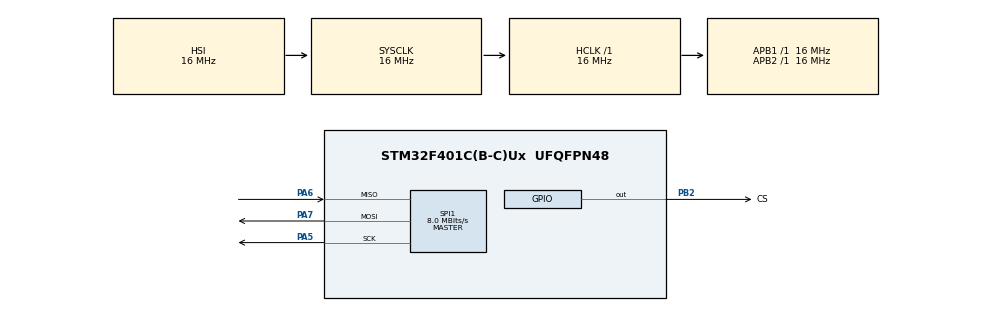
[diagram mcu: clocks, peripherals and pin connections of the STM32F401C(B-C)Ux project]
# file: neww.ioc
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Dma.Request0=SPI1_RX
Dma.Request1=SPI1_TX
Dma.SPI1_RX.0.Direction=DMA_PERIPH_TO_MEMORY
Dma.SPI1_RX.0.FIFOMode=DMA_FIFOMODE_DISABLE
Dma.SPI1_RX.0.Instance=DMA2_Stream0
Dma.SPI1_RX.0.MemDataAlignment=DMA_MDATAALIGN_BYTE
Dma.SPI1_RX.0.MemInc=DMA_MINC_ENABLE
Dma.SPI1_RX.0.Mode=DMA_NORMAL
Dma.SPI1_RX.0.PeriphDataAlignment=DMA_PDATAALIGN_BYTE
Dma.SPI1_RX.0.PeriphInc=DMA_PINC_DISABLE
Dma.SPI1_RX.0.Priority=DMA_PRIORITY_LOW
Dma.SPI1_TX.1.Direction=DMA_MEMORY_TO_PERIPH
Dma.SPI1_TX.1.FIFOMode=DMA_FIFOMODE_DISABLE
Dma.SPI1_TX.1.Instance=DMA2_Stream3
Dma.SPI1_TX.1.MemDataAlignment=DMA_MDATAALIGN_BYTE
Dma.SPI1_TX.1.MemInc=DMA_MINC_ENABLE
Dma.SPI1_TX.1.Mode=DMA_NORMAL
Dma.SPI1_TX.1.PeriphDataAlignment=DMA_PDATAALIGN_BYTE
Dma.SPI1_TX.1.PeriphInc=DMA_PINC_DISABLE
Dma.SPI1_TX.1.Priority=DMA_PRIORITY_LOW
Mcu.Family=STM32F4
Mcu.Name=STM32F401C(B-C)Ux
Mcu.Package=UFQFPN48
NVIC.DMA2_Stream0_IRQn=true\:0\:0\:false\:false\:true\:false\:true\:true
NVIC.DMA2_Stream3_IRQn=true\:0\:0\:false\:false\:true\:false\:true\:true
NVIC.PriorityGroup=NVIC_PRIORITYGROUP_4
NVIC.SPI1_IRQn=true\:0\:0\:false\:false\:true\:true\:true\:true
PA5.Mode=Full_Duplex_Master
PA5.Signal=SPI1_SCK
PA6.Mode=Full_Duplex_Master
PA6.Signal=SPI1_MISO
PA7.Mode=Full_Duplex_Master
PA7.Signal=SPI1_MOSI
PB2.GPIO_Label=CS
PB2.PinState=GPIO_PIN_SET
PB2.Signal=GPIO_Output
ProjectManager.HeapSize=0x200
ProjectManager.StackSize=0x400
ProjectManager.TargetToolchain=STM32CubeIDE
RCC.AHBFreq_Value=16000000
RCC.APB1Freq_Value=16000000
RCC.APB2Freq_Value=16000000
RCC.CortexFreq_Value=16000000
RCC.HSE_VALUE=25000000
RCC.HSI_VALUE=16000000
RCC.LSE_VALUE=32768
RCC.SYSCLKFreq_VALUE=16000000
RCC.VCOOutputFreq_Value=192000000
SPI1.CRCCalculation=SPI_CRCCALCULATION_DISABLE
SPI1.CalculateBaudRate=8.0 MBits/s
SPI1.Direction=SPI_DIRECTION_2LINES
SPI1.Mode=SPI_MODE_MASTER
SPI1.VirtualType=VM_MASTER
board=custom

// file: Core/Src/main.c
/* USER CODE BEGIN Header */
/**
  ******************************************************************************
  * @file           : main.c
  * @brief          : Main program body
  ******************************************************************************
  * @attention
  *
  * Copyright (c) 2025 STMicroelectronics.
  * All rights reserved.
  *
  * This software is licensed under terms that can be found in the LICENSE file
  * in the root directory of this software component.
  * If no LICENSE file comes with this software, it is provided AS-IS.
  *
  ******************************************************************************
  */
/* USER CODE END Header */
#include "main.h"

SPI_HandleTypeDef hspi1;
DMA_HandleTypeDef hdma_spi1_rx;
DMA_HandleTypeDef hdma_spi1_tx;

/* USER CODE BEGIN PV */

//uint8_t spi_tx_buf[3] = {0x12, 0x00, 0x00};
//uint8_t spi_rx_buf[3];
//volatile uint8_t spi_done = 0;

uint8_t spi_tx_buf[5] = {0};
uint8_t spi_rx_buf[5] = {0};

volatile uint8_t spi_done = 0;
volatile uint8_t spi_ok = 0;
volatile uint16_t response = 0;

volatile uint16_t value = 0;

/* USER CODE END PV */

void SystemClock_Config(void);
static void MX_GPIO_Init(void);
static void MX_DMA_Init(void);
static void MX_SPI1_Init(void);
/* USER CODE BEGIN PFP */
void spi_send_cmd(uint8_t cmd);
uint8_t spi_read_response(uint16_t *out);
/* USER CODE END PFP */

/* USER CODE BEGIN 0 */
uint8_t crc8(const uint8_t *data, uint8_t len)
{
    uint8_t crc = 0x00;

    for (uint8_t i = 0; i < len; i++) {
        crc ^= data[i];
        for (uint8_t b = 0; b < 8; b++) {
            if (crc & 0x80)
                crc = (crc << 1) ^ 0x07;
            else
                crc <<= 1;
        }
    }
    return crc;
}

/* USER CODE END 0 */

int main(void)
{

  /* MCU Configuration--------------------------------------------------------*/

  /* Reset of all peripherals, Initializes the Flash interface and the Systick. */
  HAL_Init();

  /* Configure the system clock */
  SystemClock_Config();

  /* Initialize all configured peripherals */
  MX_GPIO_Init();
  MX_DMA_Init();
  MX_SPI1_Init();
  /* USER CODE BEGIN 2 */

//  /* Pull CS LOW */
//  HAL_GPIO_WritePin(CS_GPIO_Port, CS_Pin, GPIO_PIN_RESET);
//
//  /* Start SPI DMA transaction (3 bytes) */
//  HAL_SPI_TransmitReceive_DMA(&hspi1, spi_tx_buf, spi_rx_buf, 3);

  spi_tx_buf[0] = 0x00;   // dummy
  spi_tx_buf[1] = 0x12;   // CMD
  spi_tx_buf[2] = 0x00;   // clock for DATA_H
  spi_tx_buf[3] = 0x00;   // clock for DATA_L
  spi_tx_buf[4] = 0x00;   // clock for CRC

  HAL_GPIO_WritePin(CS_GPIO_Port, CS_Pin, GPIO_PIN_RESET);
  HAL_SPI_TransmitReceive_DMA(&hspi1, spi_tx_buf, spi_rx_buf, 10);

  /* USER CODE END 2 */

  /* Infinite loop */
  while (1)
  {

  }
}

void SystemClock_Config(void)
{
  RCC_OscInitTypeDef RCC_OscInitStruct = {0};
  RCC_ClkInitTypeDef RCC_ClkInitStruct = {0};

  /** Configure the main internal regulator output voltage
  */
  __HAL_RCC_PWR_CLK_ENABLE();
  __HAL_PWR_VOLTAGESCALING_CONFIG(PWR_REGULATOR_VOLTAGE_SCALE2);

  /** Initializes the RCC Oscillators according to the specified parameters
  * in the RCC_OscInitTypeDef structure.
  */
  RCC_OscInitStruct.OscillatorType = RCC_OSCILLATORTYPE_HSI;
  RCC_OscInitStruct.HSIState = RCC_HSI_ON;
  RCC_OscInitStruct.HSICalibrationValue = RCC_HSICALIBRATION_DEFAULT;
  RCC_OscInitStruct.PLL.PLLState = RCC_PLL_NONE;
  if (HAL_RCC_OscConfig(&RCC_OscInitStruct) != HAL_OK)
  {
    Error_Handler();
  }

  /** Initializes the CPU, AHB and APB buses clocks
  */
  RCC_ClkInitStruct.ClockType = RCC_CLOCKTYPE_HCLK|RCC_CLOCKTYPE_SYSCLK
                              |RCC_CLOCKTYPE_PCLK1|RCC_CLOCKTYPE_PCLK2;
  RCC_ClkInitStruct.SYSCLKSource = RCC_SYSCLKSOURCE_HSI;
  RCC_ClkInitStruct.AHBCLKDivider = RCC_SYSCLK_DIV1;
  RCC_ClkInitStruct.APB1CLKDivider = RCC_HCLK_DIV1;
  RCC_ClkInitStruct.APB2CLKDivider = RCC_HCLK_DIV1;

  if (HAL_RCC_ClockConfig(&RCC_ClkInitStruct, FLASH_LATENCY_0) != HAL_OK)
  {
    Error_Handler();
  }
}

static void MX_SPI1_Init(void)
{

  /* SPI1 parameter configuration*/
  hspi1.Instance = SPI1;
  hspi1.Init.Mode = SPI_MODE_MASTER;
  hspi1.Init.Direction = SPI_DIRECTION_2LINES;
  hspi1.Init.DataSize = SPI_DATASIZE_8BIT;
  hspi1.Init.CLKPolarity = SPI_POLARITY_LOW;
  hspi1.Init.CLKPhase = SPI_PHASE_1EDGE;
  hspi1.Init.NSS = SPI_NSS_SOFT;
  hspi1.Init.BaudRatePrescaler = SPI_BAUDRATEPRESCALER_2;
  hspi1.Init.FirstBit = SPI_FIRSTBIT_MSB;
  hspi1.Init.TIMode = SPI_TIMODE_DISABLE;
  hspi1.Init.CRCCalculation = SPI_CRCCALCULATION_DISABLE;
  hspi1.Init.CRCPolynomial = 10;
  if (HAL_SPI_Init(&hspi1) != HAL_OK)
  {
    Error_Handler();
  }

}

static void MX_DMA_Init(void)
{

  /* DMA controller clock enable */
  __HAL_RCC_DMA2_CLK_ENABLE();

  /* DMA interrupt init */
  /* DMA2_Stream0_IRQn interrupt configuration */
  HAL_NVIC_SetPriority(DMA2_Stream0_IRQn, 0, 0);
  HAL_NVIC_EnableIRQ(DMA2_Stream0_IRQn);
  /* DMA2_Stream3_IRQn interrupt configuration */
  HAL_NVIC_SetPriority(DMA2_Stream3_IRQn, 0, 0);
  HAL_NVIC_EnableIRQ(DMA2_Stream3_IRQn);

}

static void MX_GPIO_Init(void)
{
  GPIO_InitTypeDef GPIO_InitStruct = {0};

  /* GPIO Ports Clock Enable */
  __HAL_RCC_GPIOA_CLK_ENABLE();
  __HAL_RCC_GPIOB_CLK_ENABLE();

  /*Configure GPIO pin Output Level */
  HAL_GPIO_WritePin(CS_GPIO_Port, CS_Pin, GPIO_PIN_SET);

  /*Configure GPIO pin : CS_Pin */
  GPIO_InitStruct.Pin = CS_Pin;
  GPIO_InitStruct.Mode = GPIO_MODE_OUTPUT_PP;
  GPIO_InitStruct.Pull = GPIO_NOPULL;
  GPIO_InitStruct.Speed = GPIO_SPEED_FREQ_LOW;
  HAL_GPIO_Init(CS_GPIO_Port, &GPIO_InitStruct);

}

/* USER CODE BEGIN 4 */

void HAL_SPI_TxRxCpltCallback(SPI_HandleTypeDef *hspi)
{
  if (hspi->Instance == SPI1)
  {
    /* Pull CS HIGH */
    HAL_GPIO_WritePin(CS_GPIO_Port, CS_Pin, GPIO_PIN_SET);

    uint16_t response = ((uint16_t)spi_rx_buf[1] << 8) | spi_rx_buf[2];

    // response should be 0x1212
    spi_done = 1;
  }
}

void spi_send_cmd(uint8_t cmd)
{
    uint8_t tx[2] = {0x00, cmd};
    uint8_t rx[2];

    HAL_GPIO_WritePin(CS_GPIO_Port, CS_Pin, GPIO_PIN_RESET);
    HAL_SPI_TransmitReceive(&hspi1, tx, rx, 2, HAL_MAX_DELAY);
    HAL_GPIO_WritePin(CS_GPIO_Port, CS_Pin, GPIO_PIN_SET);
}

uint8_t spi_read_response(uint16_t *out)
{
    uint8_t tx[5] = {0, 0, 0, 0, 0};
    uint8_t rx[5];

    HAL_GPIO_WritePin(CS_GPIO_Port, CS_Pin, GPIO_PIN_RESET);
    HAL_SPI_TransmitReceive(&hspi1, tx, rx, 5, HAL_MAX_DELAY);
    HAL_GPIO_WritePin(CS_GPIO_Port, CS_Pin, GPIO_PIN_SET);

    *out = ((uint16_t)rx[2] << 8) | rx[3];
    return 1;
}

/* USER CODE END 4 */

void Error_Handler(void)
{
  __disable_irq();
  while (1)
  {
  }
}
